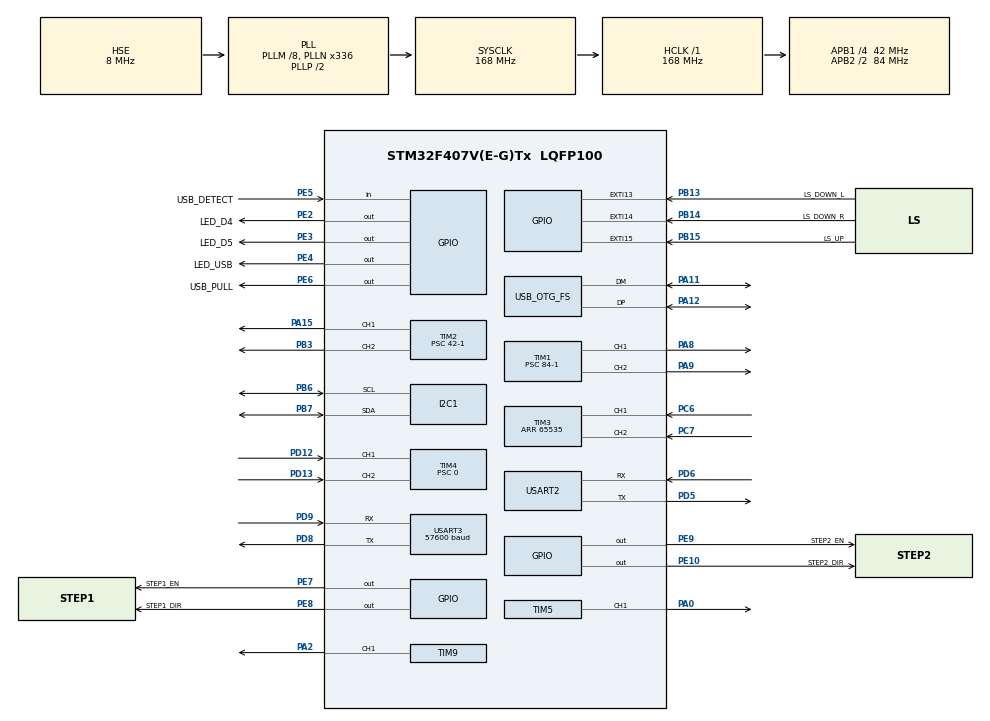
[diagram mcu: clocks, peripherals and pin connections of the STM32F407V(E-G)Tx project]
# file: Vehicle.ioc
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Dma.Request0=USART2_TX
Dma.Request1=USART3_TX
Dma.USART2_TX.0.Direction=DMA_MEMORY_TO_PERIPH
Dma.USART2_TX.0.FIFOMode=DMA_FIFOMODE_DISABLE
Dma.USART2_TX.0.Instance=DMA1_Stream6
Dma.USART2_TX.0.MemDataAlignment=DMA_MDATAALIGN_BYTE
Dma.USART2_TX.0.MemInc=DMA_MINC_ENABLE
Dma.USART2_TX.0.Mode=DMA_NORMAL
Dma.USART2_TX.0.PeriphDataAlignment=DMA_PDATAALIGN_BYTE
Dma.USART2_TX.0.PeriphInc=DMA_PINC_DISABLE
Dma.USART2_TX.0.Priority=DMA_PRIORITY_LOW
Dma.USART3_TX.1.Direction=DMA_MEMORY_TO_PERIPH
Dma.USART3_TX.1.FIFOMode=DMA_FIFOMODE_DISABLE
Dma.USART3_TX.1.Instance=DMA1_Stream3
Dma.USART3_TX.1.MemDataAlignment=DMA_MDATAALIGN_BYTE
Dma.USART3_TX.1.MemInc=DMA_MINC_ENABLE
Dma.USART3_TX.1.Mode=DMA_NORMAL
Dma.USART3_TX.1.PeriphDataAlignment=DMA_PDATAALIGN_BYTE
Dma.USART3_TX.1.PeriphInc=DMA_PINC_DISABLE
Dma.USART3_TX.1.Priority=DMA_PRIORITY_LOW
FREERTOS.Mutexes01=txPiMutex,Dynamic,NULL;txMegaMutex,Dynamic,NULL
FREERTOS.Tasks01=mainTask,3,1536,StartMainTask,Default,NULL,Dynamic,NULL,NULL;usbTask,0,512,StartUsbTask,Default,NULL,Dynamic,NULL,NULL;rasberryTask,0,768,StartRasTask,Default,NULL,Dynamic,NULL,NULL;arduinoTask,0,512,StartArduinoTask,Default,NULL,Dynamic,NULL,NULL
FREERTOS.configMINIMAL_STACK_SIZE=256
Mcu.Family=STM32F4
Mcu.Name=STM32F407V(E-G)Tx
Mcu.Package=LQFP100
NVIC.DMA1_Stream3_IRQn=true\:5\:0\:false\:false\:true\:true\:true\:true
NVIC.DMA1_Stream6_IRQn=true\:5\:0\:false\:false\:true\:true\:true\:true
NVIC.EXTI15_10_IRQn=true\:0\:0\:false\:false\:true\:false\:true\:true
NVIC.OTG_FS_IRQn=true\:5\:0\:false\:false\:true\:true\:true\:true
NVIC.PriorityGroup=NVIC_PRIORITYGROUP_4
NVIC.TIM1_BRK_TIM9_IRQn=true\:0\:0\:false\:false\:true\:false\:true\:true
NVIC.TIM5_IRQn=true\:0\:0\:false\:false\:true\:false\:true\:true
NVIC.TIM6_DAC_IRQn=true\:0\:0\:false\:false\:true\:false\:true\:true
NVIC.TIM7_IRQn=true\:5\:0\:false\:false\:true\:true\:true\:true
NVIC.TimeBase=TIM6_DAC_IRQn
NVIC.TimeBaseIP=TIM6
NVIC.USART2_IRQn=true\:5\:0\:false\:false\:true\:true\:true\:true
NVIC.USART3_IRQn=true\:5\:0\:false\:false\:true\:true\:true\:true
PA0-WKUP.Signal=S_TIM5_CH1
PA11.Mode=Device_Only
PA11.Signal=USB_OTG_FS_DM
PA12.Mode=Device_Only
PA12.Signal=USB_OTG_FS_DP
PA13.Mode=Serial_Wire
PA13.Signal=SYS_JTMS-SWDIO
PA14.Mode=Serial_Wire
PA14.Signal=SYS_JTCK-SWCLK
PA15.Signal=S_TIM2_CH1_ETR
PA2.Signal=S_TIM9_CH1
PA8.Signal=S_TIM1_CH1
PA9.Signal=S_TIM1_CH2
PB13.GPIO_Label=LS_DOWN_L
PB13.Signal=GPXTI13
PB14.GPIO_Label=LS_DOWN_R
PB14.Signal=GPXTI14
PB15.GPIO_Label=LS_UP
PB15.Signal=GPXTI15
PB3.Signal=S_TIM2_CH2
PB6.Mode=I2C
PB6.Signal=I2C1_SCL
PB7.Mode=I2C
PB7.Signal=I2C1_SDA
PC6.Signal=S_TIM3_CH1
PC7.Signal=S_TIM3_CH2
PD12.Signal=S_TIM4_CH1
PD13.Signal=S_TIM4_CH2
PD5.Mode=Asynchronous
PD5.Signal=USART2_TX
PD6.Mode=Asynchronous
PD6.Signal=USART2_RX
PD8.Mode=Asynchronous
PD8.Signal=USART3_TX
PD9.Mode=Asynchronous
PD9.Signal=USART3_RX
PE10.GPIO_Label=STEP2_DIR
PE10.Signal=GPIO_Output
PE2.GPIO_Label=LED_D4
PE2.Signal=GPIO_Output
PE3.GPIO_Label=LED_D5
PE3.Signal=GPIO_Output
PE4.GPIO_Label=LED_USB
PE4.Signal=GPIO_Output
PE5.GPIO_Label=USB_DETECT
PE5.Signal=GPIO_Input
PE6.GPIO_Label=USB_PULL
PE6.Signal=GPIO_Output
PE7.GPIO_Label=STEP1_EN
PE7.Signal=GPIO_Output
PE8.GPIO_Label=STEP1_DIR
PE8.Signal=GPIO_Output
PE9.GPIO_Label=STEP2_EN
PE9.Signal=GPIO_Output
PH0-OSC_IN.Mode=HSE-External-Oscillator
PH0-OSC_IN.Signal=RCC_OSC_IN
PH1-OSC_OUT.Mode=HSE-External-Oscillator
PH1-OSC_OUT.Signal=RCC_OSC_OUT
ProjectManager.HeapSize=0x200
ProjectManager.StackSize=0x400
ProjectManager.TargetToolchain=STM32CubeIDE
RCC.48MHZClocksFreq_Value=48000000
RCC.AHBFreq_Value=168000000
RCC.APB1CLKDivider=RCC_HCLK_DIV4
RCC.APB1Freq_Value=42000000
RCC.APB1TimFreq_Value=84000000
RCC.APB2CLKDivider=RCC_HCLK_DIV2
RCC.APB2Freq_Value=84000000
RCC.APB2TimFreq_Value=168000000
RCC.CortexFreq_Value=168000000
RCC.HCLKFreq_Value=168000000
RCC.HSE_VALUE=8000000
RCC.HSI_VALUE=16000000
RCC.LSE_VALUE=32768
RCC.PLLM=8
RCC.PLLN=336
RCC.PLLQ=7
RCC.SYSCLKFreq_VALUE=168000000
RCC.SYSCLKSource=RCC_SYSCLKSOURCE_PLLCLK
RCC.VCOOutputFreq_Value=336000000
SH.S_TIM1_CH1.0=TIM1_CH1,PWM Generation1 CH1
SH.S_TIM1_CH2.0=TIM1_CH2,PWM Generation2 CH2
SH.S_TIM2_CH1_ETR.0=TIM2_CH1,PWM Generation1 CH1
SH.S_TIM2_CH2.0=TIM2_CH2,PWM Generation2 CH2
SH.S_TIM3_CH1.0=TIM3_CH1,Encoder_Interface
SH.S_TIM3_CH2.0=TIM3_CH2,Encoder_Interface
SH.S_TIM4_CH1.0=TIM4_CH1,Encoder_Interface
SH.S_TIM4_CH2.0=TIM4_CH2,Encoder_Interface
SH.S_TIM5_CH1.0=TIM5_CH1,PWM Generation1 CH1
SH.S_TIM9_CH1.0=TIM9_CH1,PWM Generation1 CH1
TIM1.AutoReloadPreload=TIM_AUTORELOAD_PRELOAD_ENABLE
TIM1.Channel-PWM\ Generation1\ CH1=TIM_CHANNEL_1
TIM1.Channel-PWM\ Generation2\ CH2=TIM_CHANNEL_2
TIM1.Period=200-1
TIM1.Prescaler=84-1
TIM2.AutoReloadPreload=TIM_AUTORELOAD_PRELOAD_ENABLE
TIM2.Channel-PWM\ Generation1\ CH1=TIM_CHANNEL_1
TIM2.Channel-PWM\ Generation2\ CH2=TIM_CHANNEL_2
TIM2.Period=200-1
TIM2.Prescaler=42-1
TIM3.AutoReloadPreload=TIM_AUTORELOAD_PRELOAD_ENABLE
TIM3.EncoderMode=TIM_ENCODERMODE_TI12
TIM3.IC1Filter=10
TIM3.IC2Filter=10
TIM3.Period=65535
TIM4.AutoReloadPreload=TIM_AUTORELOAD_PRELOAD_ENABLE
TIM4.EncoderMode=TIM_ENCODERMODE_TI12
TIM4.IC1Filter=10
TIM4.IC2Filter=10
TIM4.Period=65535
TIM4.Prescaler=0
TIM5.AutoReloadPreload=TIM_AUTORELOAD_PRELOAD_ENABLE
TIM5.Channel-PWM\ Generation1\ CH1=TIM_CHANNEL_1
TIM5.OCMode_PWM-PWM\ Generation1\ CH1=TIM_OCMODE_PWM1
TIM5.OCPolarity_1=TIM_OCPOLARITY_LOW
TIM5.Period=9999
TIM5.Prescaler=84-1
TIM5.Pulse-PWM\ Generation1\ CH1=10000
TIM7.Period=9999
TIM7.Prescaler=84-1
TIM9.AutoReloadPreload=TIM_AUTORELOAD_PRELOAD_ENABLE
TIM9.Channel-PWM\ Generation1\ CH1=TIM_CHANNEL_1
TIM9.OCMode_PWM-PWM\ Generation1\ CH1=TIM_OCMODE_PWM1
TIM9.OCPolarity_1=TIM_OCPOLARITY_LOW
TIM9.Period=9999
TIM9.Prescaler=168-1
TIM9.Pulse-PWM\ Generation1\ CH1=10000
USART2.VirtualMode=VM_ASYNC
USART3.BaudRate=57600
USART3.VirtualMode=VM_ASYNC
USB_DEVICE.CLASS_NAME_FS=CDC
USB_DEVICE.VirtualMode-CDC_FS=Cdc
USB_DEVICE.VirtualModeFS=Cdc_FS
USB_OTG_FS.VirtualMode=Device_Only
VP_FREERTOS_VS_CMSIS_V1.Mode=CMSIS_V1
VP_SYS_VS_tim6.Mode=TIM6
VP_TIM1_VS_ClockSourceINT.Mode=Internal
VP_TIM2_VS_ClockSourceINT.Mode=Internal
VP_TIM7_VS_ClockSourceINT.Mode=Enable_Timer
VP_USB_DEVICE_VS_USB_DEVICE_CDC_FS.Mode=CDC_FS
board=custom

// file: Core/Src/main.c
/* USER CODE BEGIN Header */
/**
  ******************************************************************************
  * @file           : main.c
  * @brief          : Main program body
  ******************************************************************************
  * @attention
  *
  * <h2><center>&copy; Copyright (c) 2020 STMicroelectronics.
  * All rights reserved.</center></h2>
  *
  * This software component is licensed by ST under BSD 3-Clause license,
  * the "License"; You may not use this file except in compliance with the
  * License. You may obtain a copy of the License at:
  *                        opensource.org/licenses/BSD-3-Clause
  *
  ******************************************************************************
  */
/* USER CODE END Header */
#include "main.h"
#include "cmsis_os.h"
#include "dma.h"
#include "i2c.h"
#include "tim.h"
#include "usart.h"
#include "usb_device.h"
#include "gpio.h"

/* USER CODE BEGIN Includes */
#include "arduino.h"
/* USER CODE END Includes */

void SystemClock_Config(void);
void MX_FREERTOS_Init(void);

int main(void)
{
  /* USER CODE BEGIN 1 */
//	uint8_t my_string[] = "THIS IS UART TEST. AUTHOR: PHUC NAM <3 \n";
//	ptr_char = &receive_string[0];
// 	uint8_t report[50] = {'\0'};
  /* USER CODE END 1 */

  /* MCU Configuration--------------------------------------------------------*/

  /* Reset of all peripherals, Initializes the Flash interface and the Systick. */
  HAL_Init();

  /* Configure the system clock */
  SystemClock_Config();

  /* Initialize all configured peripherals */
  MX_GPIO_Init();
  MX_DMA_Init();
  MX_I2C1_Init();
  MX_TIM1_Init();
  MX_TIM2_Init();
  MX_TIM3_Init();
  MX_TIM4_Init();
  MX_TIM5_Init();
  MX_USART2_UART_Init();
  MX_USART3_UART_Init();
  MX_TIM9_Init();
  MX_TIM7_Init();
  /* USER CODE BEGIN 2 */
  // Init serial file
  InitChecksum();
  // Turn off on light
  HAL_GPIO_WritePin(LED_D4_GPIO_Port, LED_D4_Pin, GPIO_PIN_SET);
  HAL_GPIO_WritePin(LED_D5_GPIO_Port, LED_D5_Pin, GPIO_PIN_SET);

  /* USER CODE END 2 */

  /* Call init function for freertos objects (in freertos.c) */
  MX_FREERTOS_Init();
  /* Start scheduler */
  osKernelStart();

  /* We should never get here as control is now taken by the scheduler */
  /* Infinite loop */
  while (1)
  {

  }
}

void SystemClock_Config(void)
{
  RCC_OscInitTypeDef RCC_OscInitStruct = {0};
  RCC_ClkInitTypeDef RCC_ClkInitStruct = {0};

  /** Configure the main internal regulator output voltage
  */
  __HAL_RCC_PWR_CLK_ENABLE();
  __HAL_PWR_VOLTAGESCALING_CONFIG(PWR_REGULATOR_VOLTAGE_SCALE1);
  /** Initializes the RCC Oscillators according to the specified parameters
  * in the RCC_OscInitTypeDef structure.
  */
  RCC_OscInitStruct.OscillatorType = RCC_OSCILLATORTYPE_HSE;
  RCC_OscInitStruct.HSEState = RCC_HSE_ON;
  RCC_OscInitStruct.PLL.PLLState = RCC_PLL_ON;
  RCC_OscInitStruct.PLL.PLLSource = RCC_PLLSOURCE_HSE;
  RCC_OscInitStruct.PLL.PLLM = 8;
  RCC_OscInitStruct.PLL.PLLN = 336;
  RCC_OscInitStruct.PLL.PLLP = RCC_PLLP_DIV2;
  RCC_OscInitStruct.PLL.PLLQ = 7;
  if (HAL_RCC_OscConfig(&RCC_OscInitStruct) != HAL_OK)
  {
    Error_Handler();
  }
  /** Initializes the CPU, AHB and APB buses clocks
  */
  RCC_ClkInitStruct.ClockType = RCC_CLOCKTYPE_HCLK|RCC_CLOCKTYPE_SYSCLK
                              |RCC_CLOCKTYPE_PCLK1|RCC_CLOCKTYPE_PCLK2;
  RCC_ClkInitStruct.SYSCLKSource = RCC_SYSCLKSOURCE_PLLCLK;
  RCC_ClkInitStruct.AHBCLKDivider = RCC_SYSCLK_DIV1;
  RCC_ClkInitStruct.APB1CLKDivider = RCC_HCLK_DIV4;
  RCC_ClkInitStruct.APB2CLKDivider = RCC_HCLK_DIV2;

  if (HAL_RCC_ClockConfig(&RCC_ClkInitStruct, FLASH_LATENCY_5) != HAL_OK)
  {
    Error_Handler();
  }
}

void HAL_TIM_PeriodElapsedCallback(TIM_HandleTypeDef *htim)
{
  if (htim->Instance == TIM6) {
    HAL_IncTick();
  }
}

void Error_Handler(void)
{
}

/************************ (C) COPYRIGHT STMicroelectronics *****END OF FILE****/

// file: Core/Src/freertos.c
/* USER CODE BEGIN Header */
/**
  ******************************************************************************
  * File Name          : freertos.c
  * Description        : Code for freertos applications
  ******************************************************************************
  * @attention
  *
  * <h2><center>&copy; Copyright (c) 2020 STMicroelectronics.
  * All rights reserved.</center></h2>
  *
  * This software component is licensed by ST under Ultimate Liberty license
  * SLA0044, the "License"; You may not use this file except in compliance with
  * the License. You may obtain a copy of the License at:
  *                             www.st.com/SLA0044
  *
  ******************************************************************************
  */
/* USER CODE END Header */

#include "FreeRTOS.h"
#include "task.h"
#include "main.h"
#include "cmsis_os.h"

/* USER CODE BEGIN Includes */
#include "main_thread.h"
#include "usb_thread.h"
#include "rasberry_thread.h"
#include "arduino_thread.h"
#include "debug_cmd.h"
/* USER CODE END Includes */

/* USER CODE BEGIN Variables */
osMailQId mainTaskMailHandle;
/* USER CODE END Variables */
osThreadId mainTaskHandle;
osThreadId usbTaskHandle;
osThreadId rasberryTaskHandle;
osThreadId arduinoTaskHandle;
osMutexId txPiMutexHandle;
osMutexId txMegaMutexHandle;

void StartMainTask(void const * argument);
void StartUsbTask(void const * argument);
void StartRasTask(void const * argument);
void StartArduinoTask(void const * argument);

extern void MX_USB_DEVICE_Init(void);
void MX_FREERTOS_Init(void); /* (MISRA C 2004 rule 8.1) */

/* GetIdleTaskMemory prototype (linked to static allocation support) */
void vApplicationGetIdleTaskMemory( StaticTask_t **ppxIdleTaskTCBBuffer, StackType_t **ppxIdleTaskStackBuffer, uint32_t *pulIdleTaskStackSize );

/* USER CODE BEGIN GET_IDLE_TASK_MEMORY */
static StaticTask_t xIdleTaskTCBBuffer;
static StackType_t xIdleStack[configMINIMAL_STACK_SIZE];

void vApplicationGetIdleTaskMemory( StaticTask_t **ppxIdleTaskTCBBuffer, StackType_t **ppxIdleTaskStackBuffer, uint32_t *pulIdleTaskStackSize )
{
  *ppxIdleTaskTCBBuffer = &xIdleTaskTCBBuffer;
  *ppxIdleTaskStackBuffer = &xIdleStack[0];
  *pulIdleTaskStackSize = configMINIMAL_STACK_SIZE;
  /* place for user code */
}
/* USER CODE END GET_IDLE_TASK_MEMORY */

void MX_FREERTOS_Init(void) {
  /* Create the mutex(es) */
  /* definition and creation of txPiMutex */
  osMutexDef(txPiMutex);
  txPiMutexHandle = osMutexCreate(osMutex(txPiMutex));

  /* definition and creation of txMegaMutex */
  osMutexDef(txMegaMutex);
  txMegaMutexHandle = osMutexCreate(osMutex(txMegaMutex));

  /* USER CODE BEGIN RTOS_QUEUES */
  /* add queues, ... */
  osMailQDef(mainTaskMail, 1, mainTaskMail_t);
  mainTaskMailHandle = osMailCreate(osMailQ(mainTaskMail), NULL);
  /* USER CODE END RTOS_QUEUES */

  /* Create the thread(s) */
  /* definition and creation of mainTask */
  osThreadDef(mainTask, StartMainTask, osPriorityRealtime, 0, 1536);
  mainTaskHandle = osThreadCreate(osThread(mainTask), NULL);

  /* definition and creation of usbTask */
  osThreadDef(usbTask, StartUsbTask, osPriorityNormal, 0, 512);
  usbTaskHandle = osThreadCreate(osThread(usbTask), NULL);

  /* definition and creation of rasberryTask */
  osThreadDef(rasberryTask, StartRasTask, osPriorityNormal, 0, 768);
  rasberryTaskHandle = osThreadCreate(osThread(rasberryTask), NULL);

  /* definition and creation of arduinoTask */
  osThreadDef(arduinoTask, StartArduinoTask, osPriorityNormal, 0, 512);
  arduinoTaskHandle = osThreadCreate(osThread(arduinoTask), NULL);

}

void StartMainTask(void const * argument)
{
  /* init code for USB_DEVICE */
  MX_USB_DEVICE_Init();
  /* USER CODE BEGIN StartMainTask */
  setupMainThread();
  /* Infinite loop */
  for(;;)
  {
	  for(;;) {
		  osSignalWait(0x01, osWaitForever); // TIM7 generate basic period
		  loopMainThread();
	  }
	  // Never go to this
    osDelay(1);
  }
  /* USER CODE END StartMainTask */
}

void StartUsbTask(void const * argument)
{
  /* USER CODE BEGIN StartUsbTask */
	setupUsbThread();
  /* Infinite loop */
  for(;;)
  {
	  loopUsbThread();
    osDelay(1);
  }
  /* USER CODE END StartUsbTask */
}

void StartRasTask(void const * argument)
{
  /* USER CODE BEGIN StartRasTask */
	setupRasberryThread();
  /* Infinite loop */
  for(;;)
  {
//	  for (;;) {
		  loopRasberryThread();
//		  osThreadYield();
//	  }
	  // Never go to this
    osDelay(1);
  }
  /* USER CODE END StartRasTask */
}

void StartArduinoTask(void const * argument)
{
  /* USER CODE BEGIN StartArduinoTask */
	setupArduinoThread();
  /* Infinite loop */
  for(;;)
  {
	 loopArduinoThread();
    osDelay(1);
  }
  /* USER CODE END StartArduinoTask */
}

/************************ (C) COPYRIGHT STMicroelectronics *****END OF FILE****/
